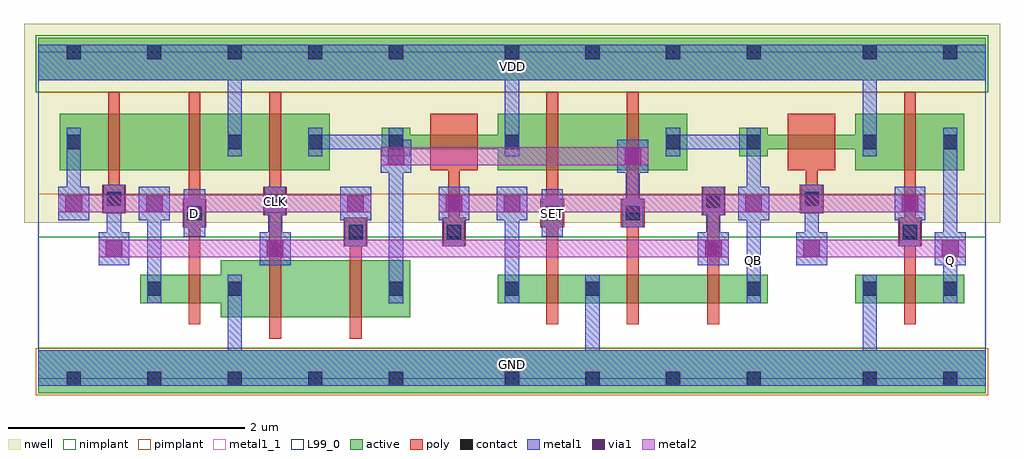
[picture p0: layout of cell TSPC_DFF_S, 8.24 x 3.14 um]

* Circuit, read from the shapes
.subckt TSPC_DFF_S CLK D GND Q QB SET VDD
M1 GND D n1 GND nfet w=0.24u l=0.1u
M2 n2 CLK GND GND nfet w=0.48u l=0.1u
M3 n3 n1 n2 GND nfet w=0.48u l=0.1u
M4 GND SET QB GND nfet w=0.24u l=0.1u
M5 n4 n3 GND GND nfet w=0.24u l=0.1u
M6 QB CLK n4 GND nfet w=0.24u l=0.1u
M7 Q QB GND GND nfet w=0.24u l=0.1u
M8 n5 CLK n1 VDD pfet w=0.48u l=0.1u
M9 VDD D n5 VDD pfet w=0.48u l=0.1u
M10 n3 CLK VDD VDD pfet w=0.48u l=0.1u
M11 VDD QB n3 VDD pfet w=0.12u l=0.4u
M12 n6 SET VDD VDD pfet w=0.48u l=0.1u
M13 QB n3 n6 VDD pfet w=0.48u l=0.1u
M14 VDD Q QB VDD pfet w=0.12u l=0.4u
M15 Q QB VDD VDD pfet w=0.48u l=0.1u
.ends

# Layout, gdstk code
import gdstk
lib = gdstk.Library(unit=1e-6, precision=5e-10)
def R(c, l, rs):  # rectangles x0, y0, x1, y1
    for r in rs: c.add(gdstk.rectangle(r[:2], r[2:], *l))
def A(c, l, x, y, w, h, nx, ny, dx, dy):  # array of equal rectangles
    R(c, l, [(x+i*dx, y+j*dy, x+i*dx+w, y+j*dy+h) for i in range(nx) for j in range(ny)])
active = (1, 0)
nwell = (2, 0)
poly = (3, 0)
nimplant = (4, 0)
pimplant = (5, 0)
contact = (6, 0)
metal1 = (7, 0)
metal1_1 = (7, 1)
via1 = (8, 0)
metal2 = (9, 0)
L99_0 = (99, 0)

tspc_dff_s = lib.new_cell('TSPC_DFF_S')
A(tspc_dff_s, active, 1.54, 0.52, 0.24, 0.48, 3, 1, 0.68, 0)
A(tspc_dff_s, active, 3.88, 0.64, 0.24, 0.24, 4, 1, 0.68, 0)
A(tspc_dff_s, active, 4.12, 0.64, 0.44, 0.24, 3, 1, 0.68, 0)
A(tspc_dff_s, active, 0.18, 1.76, 0.24, 0.48, 4, 1, 0.68, 0)
A(tspc_dff_s, active, 0.42, 1.76, 0.44, 0.48, 3, 1, 0.68, 0)
A(tspc_dff_s, active, 3.88, 1.76, 0.24, 0.48, 3, 1, 0.68, 0)
R(tspc_dff_s, active, [(0,-0.12,8,0.24), (1.78,0.52,2.22,1), (2.46,0.52,2.9,1), (0.86,0.64,1.1,0.88), (1.1,0.64,1.54,0.88), (6.9,0.64,7.14,0.88), (7.14,0.64,7.58,0.88), (7.58,0.64,7.82,0.88), (4.12,1.76,4.56,2.24), (4.8,1.76,5.24,2.24), (6.9,1.76,7.14,2.24), (7.14,1.76,7.58,2.24), (7.58,1.76,7.82,2.24), (2.9,1.88,3.14,2.12), (5.92,1.88,6.16,2.12), (3.14,1.94,3.88,2.06), (6.16,1.94,6.9,2.06), (0,2.52,8,2.88)])
R(tspc_dff_s, nwell, [(-0.12,1.32,8.12,3)])
R(tspc_dff_s, poly, [(1.95,0.34,2.05,2.42), (2.63,0.34,2.73,1.36), (1.27,0.46,1.37,2.42), (4.29,0.46,4.39,2.42), (4.97,0.46,5.07,2.42), (5.65,0.46,5.75,1.62), (7.31,0.46,7.41,2.42), (2.58,1.12,2.78,1.36), (3.41,1.12,3.61,1.36), (3.46,1.12,3.56,2.24), (7.26,1.12,7.46,1.36), (1.22,1.28,1.42,1.52), (4.24,1.28,4.44,1.52), (4.92,1.28,5.12,1.52), (1.9,1.38,2.1,1.62), (5.6,1.38,5.8,1.62), (0.54,1.4,0.74,1.64), (0.59,1.4,0.69,2.42), (6.43,1.4,6.63,1.64), (6.48,1.4,6.58,2.24), (3.31,1.76,3.71,2.24), (6.33,1.76,6.73,2.24)])
R(tspc_dff_s, nimplant, [(0,0.26,8,1.2), (-0.02,2.42,8.02,2.9)])
R(tspc_dff_s, pimplant, [(-0.02,-0.14,8.02,0.26), (0,1.56,8,2.42)])
A(tspc_dff_s, contact, 0.24, -0.06, 0.12, 0.12, 5, 2, 0.68, 2.76)
A(tspc_dff_s, contact, 3.94, -0.06, 0.12, 0.12, 4, 2, 0.68, 2.76)
A(tspc_dff_s, contact, 1.6, 1.94, 0.12, 0.12, 3, 1, 0.68, 0)
R(tspc_dff_s, contact, [(6.96,-0.06,7.08,0.06), (7.64,-0.06,7.76,0.06), (0.92,0.7,1.04,0.82), (1.6,0.7,1.72,0.82), (2.96,0.7,3.08,0.82), (3.94,0.7,4.06,0.82), (4.62,0.7,4.74,0.82), (5.98,0.7,6.1,0.82), (6.96,0.7,7.08,0.82), (7.64,0.7,7.76,0.82), (2.62,1.18,2.74,1.3), (3.45,1.18,3.57,1.3), (7.3,1.18,7.42,1.3), (1.26,1.34,1.38,1.46), (4.28,1.34,4.4,1.46), (4.96,1.34,5.08,1.46), (1.94,1.44,2.06,1.56), (5.64,1.44,5.76,1.56), (0.58,1.46,0.7,1.58), (6.47,1.46,6.59,1.58), (0.24,1.94,0.36,2.06), (3.94,1.94,4.06,2.06), (5.3,1.94,5.42,2.06), (5.98,1.94,6.1,2.06), (6.96,1.94,7.08,2.06), (7.64,1.94,7.76,2.06), (6.96,2.7,7.08,2.82), (7.64,2.7,7.76,2.82)])
A(tspc_dff_s, metal1, 1.6, 1.88, 0.12, 0.24, 3, 1, 0.68, 0)
R(tspc_dff_s, metal1, [(0,-0.06,8,0.24), (1.6,0.06,1.72,0.82), (4.62,0.06,4.74,0.82), (6.96,0.06,7.08,0.82), (0.92,0.64,1.04,0.88), (1.6,0.64,1.72,0.88), (2.96,0.64,3.08,0.88), (3.94,0.64,4.06,0.88), (4.62,0.64,4.74,0.88), (5.98,0.64,6.1,0.88), (6.96,0.64,7.08,0.88), (7.64,0.64,7.76,0.88), (0.92,0.7,1.04,1.54), (2.96,0.7,3.08,2.06), (3.94,0.7,4.06,1.54), (5.98,0.7,6.1,2.06), (7.64,0.7,7.76,2.06), (0.51,0.96,0.77,1.24), (1.87,0.96,2.13,1.24), (5.57,0.96,5.83,1.24), (6.4,0.96,6.66,1.24), (7.57,0.96,7.83,1.24), (0.58,1.1,0.7,1.52), (1.94,1.1,2.06,1.5), (5.64,1.1,5.76,1.5), (6.47,1.1,6.59,1.52), (2.59,1.12,2.77,1.36), (3.42,1.12,3.6,1.36), (7.27,1.12,7.45,1.36), (1.23,1.2,1.41,1.6), (4.25,1.2,4.43,1.6), (2.62,1.24,2.74,1.48), (3.45,1.24,3.57,1.48), (7.3,1.24,7.42,1.48), (1.23,1.28,1.41,1.52), (4.25,1.28,4.43,1.52), (4.93,1.28,5.11,1.52), (0.17,1.34,0.43,1.62), (0.85,1.34,1.11,1.62), (2.55,1.34,2.81,1.62), (3.38,1.34,3.64,1.62), (3.87,1.34,4.13,1.62), (5.91,1.34,6.17,1.62), (7.23,1.34,7.49,1.62), (1.91,1.38,2.09,1.62), (5.61,1.38,5.79,1.62), (0.55,1.4,0.73,1.64), (4.96,1.4,5.08,1.88), (6.44,1.4,6.62,1.64), (0.24,1.42,0.36,2.06), (2.89,1.74,3.15,2.02), (4.89,1.74,5.15,2.02), (0.24,1.88,0.36,2.12), (3.94,1.88,4.06,2.12), (5.3,1.88,5.42,2.12), (5.98,1.88,6.1,2.12), (6.96,1.88,7.08,2.12), (7.64,1.88,7.76,2.12), (1.6,1.94,1.72,2.7), (2.28,1.94,3.08,2.06), (3.94,1.94,4.06,2.7), (5.3,1.94,6.1,2.06), (6.96,1.94,7.08,2.7), (0,2.52,8,2.82)])
R(tspc_dff_s, metal1_1, [(0,0,8,0.24), (5.98,0.95,6.1,1.05), (7.64,0.95,7.76,1.05), (1.23,1.2,1.41,1.6), (4.25,1.2,4.43,1.6), (1.91,1.4,2.09,1.6), (0,2.52,8,2.76)])
R(tspc_dff_s, via1, [(0.57,1.03,0.71,1.17), (1.93,1.03,2.07,1.17), (5.63,1.03,5.77,1.17), (6.46,1.03,6.6,1.17), (7.63,1.03,7.77,1.17), (0.23,1.41,0.37,1.55), (0.91,1.41,1.05,1.55), (2.61,1.41,2.75,1.55), (3.44,1.41,3.58,1.55), (3.93,1.41,4.07,1.55), (5.97,1.41,6.11,1.55), (7.29,1.41,7.43,1.55), (2.95,1.81,3.09,1.95), (4.95,1.81,5.09,1.95)])
R(tspc_dff_s, metal2, [(0.51,1.025,5.83,1.175), (6.4,1.025,7.83,1.175), (0.17,1.405,2.81,1.555), (3.38,1.405,7.49,1.555), (2.89,1.805,5.15,1.955)])
R(tspc_dff_s, L99_0, [(0,0,8,2.76)])
tspc_dff_s.add(gdstk.Label('QB', (6.04,1), layer=7, texttype=3))
tspc_dff_s.add(gdstk.Label('Q', (7.7,1), layer=7, texttype=3))
tspc_dff_s.add(gdstk.Label('CLK', (2,1.5), layer=7, texttype=3))
tspc_dff_s.add(gdstk.Label('SET', (4.34,1.4), layer=7, texttype=3))
tspc_dff_s.add(gdstk.Label('D', (1.32,1.4), layer=7, texttype=3))
tspc_dff_s.add(gdstk.Label('VDD', (4,2.64), layer=7, texttype=3))
tspc_dff_s.add(gdstk.Label('GND', (4,0.12), layer=7, texttype=3))

lib.write_gds('TSPC_DFF_S.gds')
